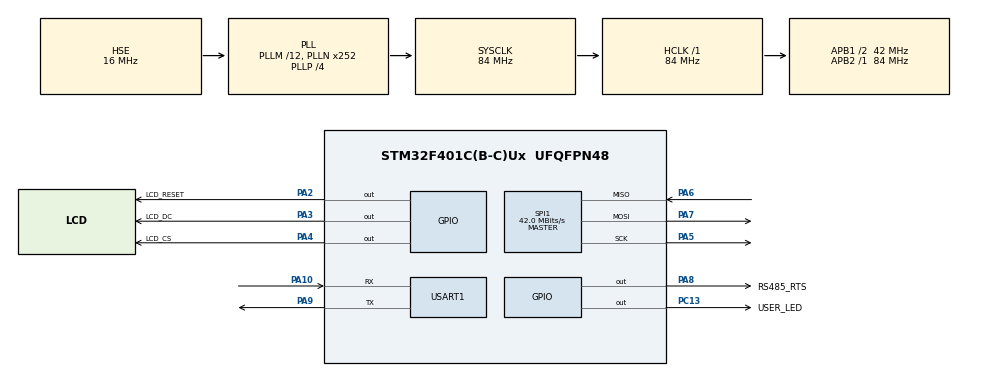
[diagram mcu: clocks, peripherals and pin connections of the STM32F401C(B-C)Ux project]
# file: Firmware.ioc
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Mcu.Family=STM32F4
Mcu.Name=STM32F401C(B-C)Ux
Mcu.Package=UFQFPN48
NVIC.PriorityGroup=NVIC_PRIORITYGROUP_4
NVIC.TIM2_IRQn=true\:0\:0\:false\:false\:true\:true\:true
NVIC.USART1_IRQn=true\:0\:0\:false\:false\:true\:true\:true
PA10.Mode=Asynchronous
PA10.Signal=USART1_RX
PA13.Mode=Serial_Wire
PA13.Signal=SYS_JTMS-SWDIO
PA14.Mode=Serial_Wire
PA14.Signal=SYS_JTCK-SWCLK
PA2.GPIO_Label=LCD_RESET
PA2.GPIO_Speed=GPIO_SPEED_FREQ_HIGH
PA2.Signal=GPIO_Output
PA3.GPIO_Label=LCD_DC
PA3.GPIO_Speed=GPIO_SPEED_FREQ_HIGH
PA3.Signal=GPIO_Output
PA4.GPIO_Label=LCD_CS
PA4.GPIO_Speed=GPIO_SPEED_FREQ_HIGH
PA4.PinState=GPIO_PIN_SET
PA4.Signal=GPIO_Output
PA5.Mode=Full_Duplex_Master
PA5.Signal=SPI1_SCK
PA6.Mode=Full_Duplex_Master
PA6.Signal=SPI1_MISO
PA7.Mode=Full_Duplex_Master
PA7.Signal=SPI1_MOSI
PA8.GPIO_Label=RS485_RTS
PA8.GPIO_Speed=GPIO_SPEED_FREQ_HIGH
PA8.Signal=GPIO_Output
PA9.Mode=Asynchronous
PA9.Signal=USART1_TX
PC13-ANTI_TAMP.GPIO_Label=USER_LED
PC13-ANTI_TAMP.Signal=GPIO_Output
PH0\ -\ OSC_IN.Mode=HSE-External-Oscillator
PH0\ -\ OSC_IN.Signal=RCC_OSC_IN
PH1\ -\ OSC_OUT.Mode=HSE-External-Oscillator
PH1\ -\ OSC_OUT.Signal=RCC_OSC_OUT
ProjectManager.HeapSize=0x200
ProjectManager.StackSize=0x400
ProjectManager.TargetToolchain=Makefile
RCC.48MHZClocksFreq_Value=48000000
RCC.AHBFreq_Value=84000000
RCC.APB1CLKDivider=RCC_HCLK_DIV2
RCC.APB1Freq_Value=42000000
RCC.APB1TimFreq_Value=84000000
RCC.APB2Freq_Value=84000000
RCC.APB2TimFreq_Value=84000000
RCC.CortexFreq_Value=84000000
RCC.HCLKFreq_Value=84000000
RCC.HSE_VALUE=16000000
RCC.HSI_VALUE=16000000
RCC.LSE_VALUE=32768
RCC.PLLM=12
RCC.PLLN=252
RCC.PLLP=RCC_PLLP_DIV4
RCC.PLLQ=7
RCC.PLLSourceVirtual=RCC_PLLSOURCE_HSE
RCC.SYSCLKFreq_VALUE=84000000
RCC.SYSCLKSource=RCC_SYSCLKSOURCE_PLLCLK
RCC.VCOOutputFreq_Value=336000000
SPI1.CalculateBaudRate=42.0 MBits/s
SPI1.Direction=SPI_DIRECTION_2LINES
SPI1.Mode=SPI_MODE_MASTER
SPI1.VirtualType=VM_MASTER
TIM2.AutoReloadPreload=TIM_AUTORELOAD_PRELOAD_DISABLE
TIM2.Period=49
TIM2.Prescaler=83
TIM2.TIM_MasterOutputTrigger=TIM_TRGO_RESET
USART1.VirtualMode=VM_ASYNC
VP_TIM2_VS_ClockSourceINT.Mode=Internal
board=custom

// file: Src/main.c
/* USER CODE BEGIN Header */
/**
  ******************************************************************************
  * @file           : main.c
  * @brief          : Main program body
  ******************************************************************************
  * @attention
  *
  * <h2><center>&copy; Copyright (c) 2020 STMicroelectronics.
  * All rights reserved.</center></h2>
  *
  * This software component is licensed by ST under BSD 3-Clause license,
  * the "License"; You may not use this file except in compliance with the
  * License. You may obtain a copy of the License at:
  *                        opensource.org/licenses/BSD-3-Clause
  *
  ******************************************************************************
  */
/* USER CODE END Header */

#include "main.h"

/* USER CODE BEGIN Includes */
#include "ST7735.h"
#include "color565.h"
#include "mb.h"
#include "mbport.h"
#include "user_mb_app_m.h"
/* USER CODE END Includes */

/* USER CODE BEGIN PD */
extern uint16_t usMRegInBuf[MB_MASTER_TOTAL_SLAVE_NUM][M_REG_INPUT_NREGS];
extern BOOL xNeedPoll;
/* USER CODE END PD */

SPI_HandleTypeDef hspi1;

TIM_HandleTypeDef htim2;

UART_HandleTypeDef huart1;

void SystemClock_Config(void);
static void MX_GPIO_Init(void);
static void MX_TIM2_Init(void);
static void MX_SPI1_Init(void);
static void MX_USART1_UART_Init(void);

int main(void)
{

  /* MCU Configuration--------------------------------------------------------*/

  /* Reset of all peripherals, Initializes the Flash interface and the Systick. */
  HAL_Init();

  /* Configure the system clock */
  SystemClock_Config();

  /* Initialize all configured peripherals */
  MX_GPIO_Init();
  MX_TIM2_Init();
  MX_SPI1_Init();
  MX_USART1_UART_Init();
  /* USER CODE BEGIN 2 */
  ST7735_Init(&hspi1);
  ST7735_Clear();

  eMBMasterInit( MB_RTU, &huart1, 115200, &htim2 );
  eMBMasterEnable( );
  xNeedPoll = TRUE;
  /* USER CODE END 2 */

  /* Infinite loop */
  while (1)
  {

    /* USER CODE BEGIN 3 */
	eMBMasterPoll();
	HAL_Delay(1);
	ST7735_PutDec(usMRegInBuf[9][0], 4, 30, 0, COLOR565_AQUA, COLOR565_BLACK);
	ST7735_PutDec(usMRegInBuf[9][1], 4, 60, 0, COLOR565_FIRE_BRICK, COLOR565_BLACK);
	if(xNeedPoll)
	{
		eMBMasterReqReadInputRegister(0xA, 0, 2, 2);
		xNeedPoll = FALSE;
	}
	//HAL_Delay(1);
  }
  /* USER CODE END 3 */
}

void SystemClock_Config(void)
{
  RCC_OscInitTypeDef RCC_OscInitStruct = {0};
  RCC_ClkInitTypeDef RCC_ClkInitStruct = {0};

  /** Configure the main internal regulator output voltage
  */
  __HAL_RCC_PWR_CLK_ENABLE();
  __HAL_PWR_VOLTAGESCALING_CONFIG(PWR_REGULATOR_VOLTAGE_SCALE2);
  /** Initializes the CPU, AHB and APB busses clocks
  */
  RCC_OscInitStruct.OscillatorType = RCC_OSCILLATORTYPE_HSE;
  RCC_OscInitStruct.HSEState = RCC_HSE_ON;
  RCC_OscInitStruct.PLL.PLLState = RCC_PLL_ON;
  RCC_OscInitStruct.PLL.PLLSource = RCC_PLLSOURCE_HSE;
  RCC_OscInitStruct.PLL.PLLM = 12;
  RCC_OscInitStruct.PLL.PLLN = 252;
  RCC_OscInitStruct.PLL.PLLP = RCC_PLLP_DIV4;
  RCC_OscInitStruct.PLL.PLLQ = 7;
  if (HAL_RCC_OscConfig(&RCC_OscInitStruct) != HAL_OK)
  {
    Error_Handler();
  }
  /** Initializes the CPU, AHB and APB busses clocks
  */
  RCC_ClkInitStruct.ClockType = RCC_CLOCKTYPE_HCLK|RCC_CLOCKTYPE_SYSCLK
                              |RCC_CLOCKTYPE_PCLK1|RCC_CLOCKTYPE_PCLK2;
  RCC_ClkInitStruct.SYSCLKSource = RCC_SYSCLKSOURCE_PLLCLK;
  RCC_ClkInitStruct.AHBCLKDivider = RCC_SYSCLK_DIV1;
  RCC_ClkInitStruct.APB1CLKDivider = RCC_HCLK_DIV2;
  RCC_ClkInitStruct.APB2CLKDivider = RCC_HCLK_DIV1;

  if (HAL_RCC_ClockConfig(&RCC_ClkInitStruct, FLASH_LATENCY_2) != HAL_OK)
  {
    Error_Handler();
  }
}

static void MX_SPI1_Init(void)
{

  /* SPI1 parameter configuration*/
  hspi1.Instance = SPI1;
  hspi1.Init.Mode = SPI_MODE_MASTER;
  hspi1.Init.Direction = SPI_DIRECTION_2LINES;
  hspi1.Init.DataSize = SPI_DATASIZE_8BIT;
  hspi1.Init.CLKPolarity = SPI_POLARITY_LOW;
  hspi1.Init.CLKPhase = SPI_PHASE_1EDGE;
  hspi1.Init.NSS = SPI_NSS_SOFT;
  hspi1.Init.BaudRatePrescaler = SPI_BAUDRATEPRESCALER_2;
  hspi1.Init.FirstBit = SPI_FIRSTBIT_MSB;
  hspi1.Init.TIMode = SPI_TIMODE_DISABLE;
  hspi1.Init.CRCCalculation = SPI_CRCCALCULATION_DISABLE;
  hspi1.Init.CRCPolynomial = 10;
  if (HAL_SPI_Init(&hspi1) != HAL_OK)
  {
    Error_Handler();
  }

}

static void MX_TIM2_Init(void)
{

  TIM_ClockConfigTypeDef sClockSourceConfig = {0};
  TIM_MasterConfigTypeDef sMasterConfig = {0};

  htim2.Instance = TIM2;
  htim2.Init.Prescaler = 83;
  htim2.Init.CounterMode = TIM_COUNTERMODE_UP;
  htim2.Init.Period = 49;
  htim2.Init.ClockDivision = TIM_CLOCKDIVISION_DIV1;
  htim2.Init.AutoReloadPreload = TIM_AUTORELOAD_PRELOAD_DISABLE;
  if (HAL_TIM_Base_Init(&htim2) != HAL_OK)
  {
    Error_Handler();
  }
  sClockSourceConfig.ClockSource = TIM_CLOCKSOURCE_INTERNAL;
  if (HAL_TIM_ConfigClockSource(&htim2, &sClockSourceConfig) != HAL_OK)
  {
    Error_Handler();
  }
  sMasterConfig.MasterOutputTrigger = TIM_TRGO_RESET;
  sMasterConfig.MasterSlaveMode = TIM_MASTERSLAVEMODE_DISABLE;
  if (HAL_TIMEx_MasterConfigSynchronization(&htim2, &sMasterConfig) != HAL_OK)
  {
    Error_Handler();
  }

}

static void MX_USART1_UART_Init(void)
{

  huart1.Instance = USART1;
  huart1.Init.BaudRate = 115200;
  huart1.Init.WordLength = UART_WORDLENGTH_8B;
  huart1.Init.StopBits = UART_STOPBITS_1;
  huart1.Init.Parity = UART_PARITY_NONE;
  huart1.Init.Mode = UART_MODE_TX_RX;
  huart1.Init.HwFlowCtl = UART_HWCONTROL_NONE;
  huart1.Init.OverSampling = UART_OVERSAMPLING_16;
  if (HAL_UART_Init(&huart1) != HAL_OK)
  {
    Error_Handler();
  }

}

static void MX_GPIO_Init(void)
{
  GPIO_InitTypeDef GPIO_InitStruct = {0};

  /* GPIO Ports Clock Enable */
  __HAL_RCC_GPIOC_CLK_ENABLE();
  __HAL_RCC_GPIOH_CLK_ENABLE();
  __HAL_RCC_GPIOA_CLK_ENABLE();

  /*Configure GPIO pin Output Level */
  HAL_GPIO_WritePin(USER_LED_GPIO_Port, USER_LED_Pin, GPIO_PIN_RESET);

  /*Configure GPIO pin Output Level */
  HAL_GPIO_WritePin(GPIOA, LCD_RESET_Pin|LCD_DC_Pin|RS485_RTS_Pin, GPIO_PIN_RESET);

  /*Configure GPIO pin Output Level */
  HAL_GPIO_WritePin(LCD_CS_GPIO_Port, LCD_CS_Pin, GPIO_PIN_SET);

  /*Configure GPIO pin : USER_LED_Pin */
  GPIO_InitStruct.Pin = USER_LED_Pin;
  GPIO_InitStruct.Mode = GPIO_MODE_OUTPUT_PP;
  GPIO_InitStruct.Pull = GPIO_NOPULL;
  GPIO_InitStruct.Speed = GPIO_SPEED_FREQ_LOW;
  HAL_GPIO_Init(USER_LED_GPIO_Port, &GPIO_InitStruct);

  /*Configure GPIO pins : LCD_RESET_Pin LCD_DC_Pin LCD_CS_Pin RS485_RTS_Pin */
  GPIO_InitStruct.Pin = LCD_RESET_Pin|LCD_DC_Pin|LCD_CS_Pin|RS485_RTS_Pin;
  GPIO_InitStruct.Mode = GPIO_MODE_OUTPUT_PP;
  GPIO_InitStruct.Pull = GPIO_NOPULL;
  GPIO_InitStruct.Speed = GPIO_SPEED_FREQ_HIGH;
  HAL_GPIO_Init(GPIOA, &GPIO_InitStruct);

}

void Error_Handler(void)
{
}

/************************ (C) COPYRIGHT STMicroelectronics *****END OF FILE****/
